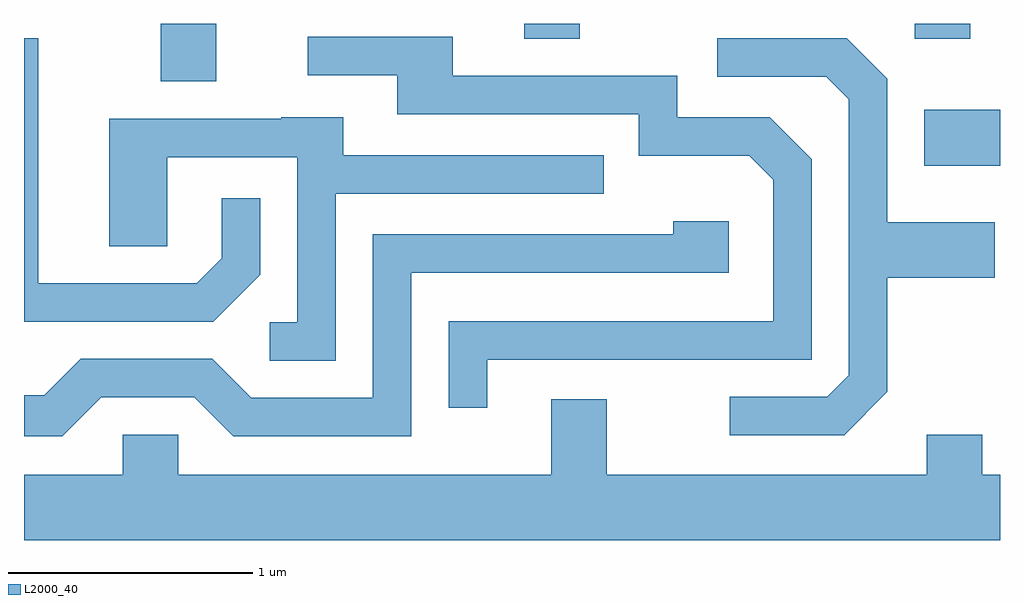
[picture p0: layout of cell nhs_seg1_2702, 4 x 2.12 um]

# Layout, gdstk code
import gdstk
lib = gdstk.Library(unit=1e-6, precision=1e-09)
def R(c, l, rs):  # rectangles x0, y0, x1, y1
    for r in rs: c.add(gdstk.rectangle(r[:2], r[2:], *l))
def P(c, l, *ps):  # polygons
    for p in ps: c.add(gdstk.Polygon(p, *l))
L2000_40 = (2000, 40)

nhs_seg1_2702 = lib.new_cell('nhs_seg1_2702')
R(nhs_seg1_2702, L2000_40, [(271.301,881.131,271.611,881.359), (268.171,881.476,268.399,881.712), (269.661,881.651,269.889,881.712), (271.261,881.651,271.489,881.712)])
P(nhs_seg1_2702, L2000_40, [(269.509,880.336),(270.839,880.336),(270.839,881.157),(270.667,881.329),(270.289,881.329),(270.289,881.499),(269.369,881.499),(269.369,881.659),(268.773,881.659),(268.773,881.501),(269.141,881.501),(269.141,881.341),(270.131,881.341),(270.131,881.171),(270.584,881.171),(270.681,881.074),(270.681,880.494),(269.351,880.494),(269.351,880.138),(269.509,880.138)],
  [(271.149,880.204),(271.149,880.671),(271.589,880.671),(271.589,880.899),(271.149,880.899),(271.149,881.487),(270.982,881.654),(270.453,881.654),(270.453,881.496),(270.899,881.496),(270.991,881.404),(270.991,880.272),(270.904,880.184),(270.503,880.184),(270.503,880.026),(270.972,880.026)],
  [(268.579,880.684),(268.579,880.998),(268.421,880.998),(268.421,880.752),(268.319,880.649),(267.669,880.649),(267.669,881.654),(267.611,881.654),(267.611,880.491),(268.387,880.491)],
  [(268.889,881.016),(269.988,881.016),(269.988,881.174),(268.919,881.174),(268.919,881.329),(268.665,881.329),(268.665,881.324),(267.961,881.324),(267.961,880.801),(268.199,880.801),(268.199,881.166),(268.731,881.166),(268.731,880.489),(268.618,880.489),(268.618,880.331),(268.889,880.331)],
  [(267.927,880.181),(268.309,880.181),(268.469,880.021),(269.199,880.021),(269.199,880.691),(270.499,880.691),(270.499,880.904),(270.271,880.904),(270.271,880.849),(269.041,880.849),(269.041,880.179),(268.542,880.179),(268.382,880.339),(267.844,880.339),(267.694,880.189),(267.611,880.189),(267.611,880.021),(267.767,880.021)],
  [(271.611,879.864),(271.539,879.864),(271.539,880.029),(271.311,880.029),(271.311,879.864),(269.999,879.864),(269.999,880.174),(269.771,880.174),(269.771,879.864),(268.244,879.864),(268.244,880.029),(268.016,880.029),(268.016,879.864),(267.611,879.864),(267.611,879.596),(271.611,879.596)])

lib.write_gds('nhs_seg1_2702.gds')
